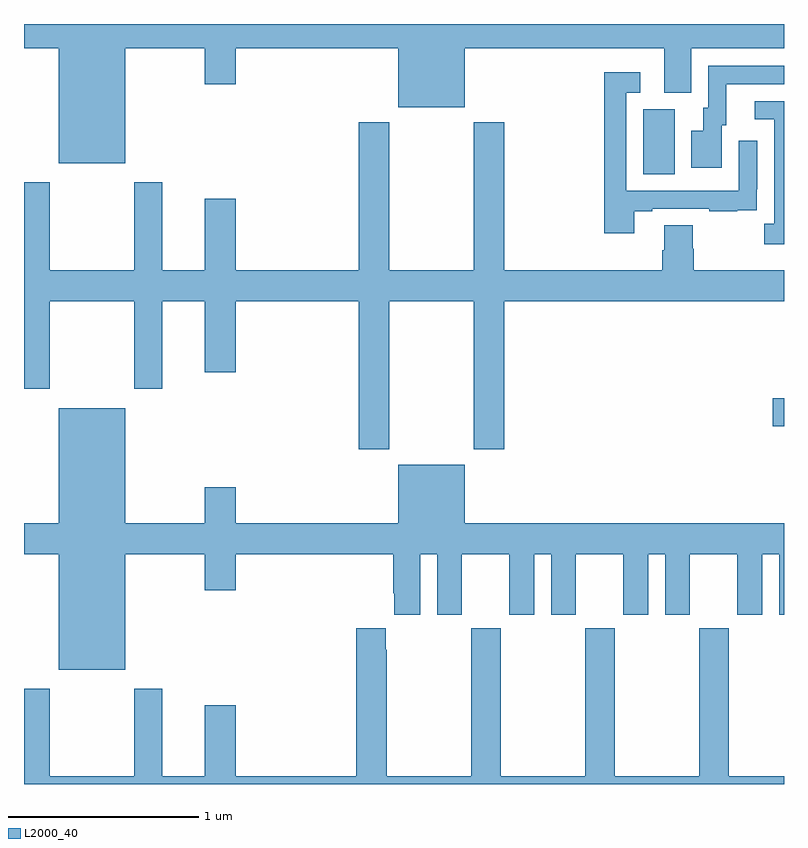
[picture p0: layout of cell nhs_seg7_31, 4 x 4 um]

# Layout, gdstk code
import gdstk
lib = gdstk.Library(unit=1e-6, precision=1e-09)
def R(c, l, rs):  # rectangles x0, y0, x1, y1
    for r in rs: c.add(gdstk.rectangle(r[:2], r[2:], *l))
def P(c, l, *ps):  # polygons
    for p in ps: c.add(gdstk.Polygon(p, *l))
L2000_40 = (2000, 40)

nhs_seg7_31 = lib.new_cell('nhs_seg7_31')
R(nhs_seg7_31, L2000_40, [(114.942,1075.883,115,1076.03), (114.26,1077.208,114.424,1077.552)])
P(nhs_seg7_31, L2000_40, [(111.532,1077.872),(111.95,1077.872),(111.95,1077.684),(112.114,1077.684),(112.114,1077.872),(112.97,1077.872),(112.97,1077.563),(113.32,1077.563),(113.32,1077.872),(114.371,1077.872),(114.371,1077.637),(114.511,1077.637),(114.511,1077.872),(115,1077.872),(115,1078),(111,1078),(111,1077.872),(111.182,1077.872),(111.182,1077.266),(111.532,1077.266)],
  [(114.673,1077.468),(114.697,1077.468),(114.697,1077.684),(115,1077.684),(115,1077.78),(114.6,1077.78),(114.6,1077.558),(114.575,1077.558),(114.575,1077.439),(114.512,1077.439),(114.512,1077.243),(114.673,1077.243)],
  [(114.211,1077.015),(114.307,1077.015),(114.307,1077.027),(114.607,1077.027),(114.607,1077.015),(114.755,1077.015),(114.755,1077.021),(114.857,1077.021),(114.857,1077.13),(114.858,1077.13),(114.858,1077.385),(114.762,1077.385),(114.762,1077.123),(114.171,1077.123),(114.171,1077.639),(114.244,1077.639),(114.244,1077.745),(114.055,1077.745),(114.055,1076.898),(114.211,1076.898)],
  [(115,1077.594),(114.846,1077.594),(114.846,1077.498),(114.948,1077.498),(114.948,1076.95),(114.897,1076.95),(114.897,1076.84),(115,1076.84)],
  [(112.923,1076.54),(113.368,1076.54),(113.368,1075.761),(113.528,1075.761),(113.528,1076.54),(115,1076.54),(115,1076.704),(114.524,1076.704),(114.524,1076.817),(114.519,1076.817),(114.519,1076.942),(114.371,1076.942),(114.371,1076.81),(114.359,1076.81),(114.359,1076.704),(113.528,1076.704),(113.528,1077.484),(113.368,1077.484),(113.368,1076.704),(112.923,1076.704),(112.923,1077.484),(112.763,1077.484),(112.763,1076.704),(112.114,1076.704),(112.114,1077.079),(111.95,1077.079),(111.95,1076.704),(111.727,1076.704),(111.727,1077.166),(111.58,1077.166),(111.58,1076.704),(111.135,1076.704),(111.135,1077.166),(111,1077.166),(111,1076.079),(111.135,1076.079),(111.135,1076.54),(111.58,1076.54),(111.58,1076.079),(111.727,1076.079),(111.727,1076.54),(111.95,1076.54),(111.95,1076.166),(112.114,1076.166),(112.114,1076.54),(112.763,1076.54),(112.763,1075.761),(112.923,1075.761)],
  [(111.532,1075.208),(111.95,1075.208),(111.95,1075.02),(112.114,1075.02),(112.114,1075.208),(112.943,1075.208),(112.943,1075.003),(112.949,1075.003),(112.949,1074.891),(113.086,1074.891),(113.086,1075.208),(113.174,1075.208),(113.174,1074.891),(113.305,1074.891),(113.305,1075.208),(113.555,1075.208),(113.555,1074.891),(113.686,1074.891),(113.686,1075.208),(113.774,1075.208),(113.774,1074.891),(113.905,1074.891),(113.905,1075.208),(114.155,1075.208),(114.155,1074.891),(114.286,1074.891),(114.286,1075.208),(114.374,1075.208),(114.374,1074.891),(114.505,1074.891),(114.505,1075.208),(114.755,1075.208),(114.755,1074.891),(114.886,1074.891),(114.886,1075.208),(114.974,1075.208),(114.974,1074.891),(115,1074.891),(115,1075.372),(113.32,1075.372),(113.32,1075.681),(112.97,1075.681),(112.97,1075.372),(112.114,1075.372),(112.114,1075.561),(111.95,1075.561),(111.95,1075.372),(111.532,1075.372),(111.532,1075.978),(111.182,1075.978),(111.182,1075.372),(111,1075.372),(111,1075.208),(111.182,1075.208),(111.182,1074.602),(111.532,1074.602)],
  [(115,1074.04),(114.708,1074.04),(114.708,1074.82),(114.553,1074.82),(114.553,1074.04),(114.108,1074.04),(114.108,1074.82),(113.953,1074.82),(113.953,1074.04),(113.508,1074.04),(113.508,1074.82),(113.353,1074.82),(113.353,1074.04),(112.908,1074.04),(112.908,1074.707),(112.903,1074.707),(112.903,1074.82),(112.748,1074.82),(112.748,1074.04),(112.114,1074.04),(112.114,1074.415),(111.95,1074.415),(111.95,1074.04),(111.727,1074.04),(111.727,1074.502),(111.58,1074.502),(111.58,1074.04),(111.135,1074.04),(111.135,1074.502),(111,1074.502),(111,1074),(115,1074)])

lib.write_gds('nhs_seg7_31.gds')
